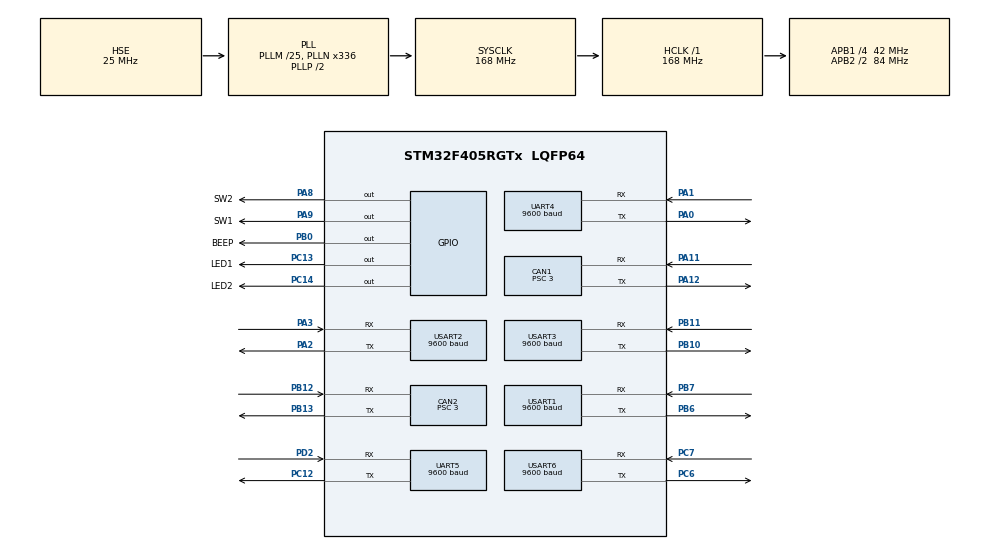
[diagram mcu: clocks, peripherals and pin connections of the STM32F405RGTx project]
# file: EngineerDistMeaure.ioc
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CAN1.BS1=CAN_BS1_9TQ
CAN1.BS2=CAN_BS2_4TQ
CAN1.CalculateTimeBit=1000
CAN1.CalculateTimeQuantum=71.42857142857143
CAN1.Prescaler=3
CAN2.BS1=CAN_BS1_9TQ
CAN2.BS2=CAN_BS2_4TQ
CAN2.CalculateTimeBit=1000
CAN2.CalculateTimeQuantum=71.42857142857143
CAN2.Prescaler=3
Dma.Request0=UART5_RX
Dma.Request1=UART5_TX
Dma.Request10=UART4_RX
Dma.Request11=UART4_TX
Dma.Request2=USART1_RX
Dma.Request3=USART1_TX
Dma.Request4=USART2_RX
Dma.Request5=USART2_TX
Dma.Request6=USART3_RX
Dma.Request7=USART3_TX
Dma.Request8=USART6_RX
Dma.Request9=USART6_TX
Dma.UART4_RX.10.Direction=DMA_PERIPH_TO_MEMORY
Dma.UART4_RX.10.FIFOMode=DMA_FIFOMODE_DISABLE
Dma.UART4_RX.10.Instance=DMA1_Stream2
Dma.UART4_RX.10.MemDataAlignment=DMA_MDATAALIGN_BYTE
Dma.UART4_RX.10.MemInc=DMA_MINC_ENABLE
Dma.UART4_RX.10.Mode=DMA_NORMAL
Dma.UART4_RX.10.PeriphDataAlignment=DMA_PDATAALIGN_BYTE
Dma.UART4_RX.10.PeriphInc=DMA_PINC_DISABLE
Dma.UART4_RX.10.Priority=DMA_PRIORITY_LOW
Dma.UART4_TX.11.Direction=DMA_MEMORY_TO_PERIPH
Dma.UART4_TX.11.FIFOMode=DMA_FIFOMODE_DISABLE
Dma.UART4_TX.11.Instance=DMA1_Stream4
Dma.UART4_TX.11.MemDataAlignment=DMA_MDATAALIGN_BYTE
Dma.UART4_TX.11.MemInc=DMA_MINC_ENABLE
Dma.UART4_TX.11.Mode=DMA_NORMAL
Dma.UART4_TX.11.PeriphDataAlignment=DMA_PDATAALIGN_BYTE
Dma.UART4_TX.11.PeriphInc=DMA_PINC_DISABLE
Dma.UART4_TX.11.Priority=DMA_PRIORITY_LOW
Dma.UART5_RX.0.Direction=DMA_PERIPH_TO_MEMORY
Dma.UART5_RX.0.FIFOMode=DMA_FIFOMODE_DISABLE
Dma.UART5_RX.0.Instance=DMA1_Stream0
Dma.UART5_RX.0.MemDataAlignment=DMA_MDATAALIGN_BYTE
Dma.UART5_RX.0.MemInc=DMA_MINC_ENABLE
Dma.UART5_RX.0.Mode=DMA_NORMAL
Dma.UART5_RX.0.PeriphDataAlignment=DMA_PDATAALIGN_BYTE
Dma.UART5_RX.0.PeriphInc=DMA_PINC_DISABLE
Dma.UART5_RX.0.Priority=DMA_PRIORITY_LOW
Dma.UART5_TX.1.Direction=DMA_MEMORY_TO_PERIPH
Dma.UART5_TX.1.FIFOMode=DMA_FIFOMODE_DISABLE
Dma.UART5_TX.1.Instance=DMA1_Stream7
Dma.UART5_TX.1.MemDataAlignment=DMA_MDATAALIGN_BYTE
Dma.UART5_TX.1.MemInc=DMA_MINC_ENABLE
Dma.UART5_TX.1.Mode=DMA_NORMAL
Dma.UART5_TX.1.PeriphDataAlignment=DMA_PDATAALIGN_BYTE
Dma.UART5_TX.1.PeriphInc=DMA_PINC_DISABLE
Dma.UART5_TX.1.Priority=DMA_PRIORITY_LOW
Dma.USART1_RX.2.Direction=DMA_PERIPH_TO_MEMORY
Dma.USART1_RX.2.FIFOMode=DMA_FIFOMODE_DISABLE
Dma.USART1_RX.2.Instance=DMA2_Stream2
Dma.USART1_RX.2.MemDataAlignment=DMA_MDATAALIGN_BYTE
Dma.USART1_RX.2.MemInc=DMA_MINC_ENABLE
Dma.USART1_RX.2.Mode=DMA_NORMAL
Dma.USART1_RX.2.PeriphDataAlignment=DMA_PDATAALIGN_BYTE
Dma.USART1_RX.2.PeriphInc=DMA_PINC_DISABLE
Dma.USART1_RX.2.Priority=DMA_PRIORITY_LOW
Dma.USART1_TX.3.Direction=DMA_MEMORY_TO_PERIPH
Dma.USART1_TX.3.FIFOMode=DMA_FIFOMODE_DISABLE
Dma.USART1_TX.3.Instance=DMA2_Stream7
Dma.USART1_TX.3.MemDataAlignment=DMA_MDATAALIGN_BYTE
Dma.USART1_TX.3.MemInc=DMA_MINC_ENABLE
Dma.USART1_TX.3.Mode=DMA_NORMAL
Dma.USART1_TX.3.PeriphDataAlignment=DMA_PDATAALIGN_BYTE
Dma.USART1_TX.3.PeriphInc=DMA_PINC_DISABLE
Dma.USART1_TX.3.Priority=DMA_PRIORITY_LOW
Dma.USART2_RX.4.Direction=DMA_PERIPH_TO_MEMORY
Dma.USART2_RX.4.FIFOMode=DMA_FIFOMODE_DISABLE
Dma.USART2_RX.4.Instance=DMA1_Stream5
Dma.USART2_RX.4.MemDataAlignment=DMA_MDATAALIGN_BYTE
Dma.USART2_RX.4.MemInc=DMA_MINC_ENABLE
Dma.USART2_RX.4.Mode=DMA_NORMAL
Dma.USART2_RX.4.PeriphDataAlignment=DMA_PDATAALIGN_BYTE
Dma.USART2_RX.4.PeriphInc=DMA_PINC_DISABLE
Dma.USART2_RX.4.Priority=DMA_PRIORITY_LOW
Dma.USART2_TX.5.Direction=DMA_MEMORY_TO_PERIPH
Dma.USART2_TX.5.FIFOMode=DMA_FIFOMODE_DISABLE
Dma.USART2_TX.5.Instance=DMA1_Stream6
Dma.USART2_TX.5.MemDataAlignment=DMA_MDATAALIGN_BYTE
Dma.USART2_TX.5.MemInc=DMA_MINC_ENABLE
Dma.USART2_TX.5.Mode=DMA_NORMAL
Dma.USART2_TX.5.PeriphDataAlignment=DMA_PDATAALIGN_BYTE
Dma.USART2_TX.5.PeriphInc=DMA_PINC_DISABLE
Dma.USART2_TX.5.Priority=DMA_PRIORITY_LOW
Dma.USART3_RX.6.Direction=DMA_PERIPH_TO_MEMORY
Dma.USART3_RX.6.FIFOMode=DMA_FIFOMODE_DISABLE
Dma.USART3_RX.6.Instance=DMA1_Stream1
Dma.USART3_RX.6.MemDataAlignment=DMA_MDATAALIGN_BYTE
Dma.USART3_RX.6.MemInc=DMA_MINC_ENABLE
Dma.USART3_RX.6.Mode=DMA_NORMAL
Dma.USART3_RX.6.PeriphDataAlignment=DMA_PDATAALIGN_BYTE
Dma.USART3_RX.6.PeriphInc=DMA_PINC_DISABLE
Dma.USART3_RX.6.Priority=DMA_PRIORITY_LOW
Dma.USART3_TX.7.Direction=DMA_MEMORY_TO_PERIPH
Dma.USART3_TX.7.FIFOMode=DMA_FIFOMODE_DISABLE
Dma.USART3_TX.7.Instance=DMA1_Stream3
Dma.USART3_TX.7.MemDataAlignment=DMA_MDATAALIGN_BYTE
Dma.USART3_TX.7.MemInc=DMA_MINC_ENABLE
Dma.USART3_TX.7.Mode=DMA_NORMAL
Dma.USART3_TX.7.PeriphDataAlignment=DMA_PDATAALIGN_BYTE
Dma.USART3_TX.7.PeriphInc=DMA_PINC_DISABLE
Dma.USART3_TX.7.Priority=DMA_PRIORITY_LOW
Dma.USART6_RX.8.Direction=DMA_PERIPH_TO_MEMORY
Dma.USART6_RX.8.FIFOMode=DMA_FIFOMODE_DISABLE
Dma.USART6_RX.8.Instance=DMA2_Stream1
Dma.USART6_RX.8.MemDataAlignment=DMA_MDATAALIGN_BYTE
Dma.USART6_RX.8.MemInc=DMA_MINC_ENABLE
Dma.USART6_RX.8.Mode=DMA_NORMAL
Dma.USART6_RX.8.PeriphDataAlignment=DMA_PDATAALIGN_BYTE
Dma.USART6_RX.8.PeriphInc=DMA_PINC_DISABLE
Dma.USART6_RX.8.Priority=DMA_PRIORITY_LOW
Dma.USART6_TX.9.Direction=DMA_MEMORY_TO_PERIPH
Dma.USART6_TX.9.FIFOMode=DMA_FIFOMODE_DISABLE
Dma.USART6_TX.9.Instance=DMA2_Stream6
Dma.USART6_TX.9.MemDataAlignment=DMA_MDATAALIGN_BYTE
Dma.USART6_TX.9.MemInc=DMA_MINC_ENABLE
Dma.USART6_TX.9.Mode=DMA_NORMAL
Dma.USART6_TX.9.PeriphDataAlignment=DMA_PDATAALIGN_BYTE
Dma.USART6_TX.9.PeriphInc=DMA_PINC_DISABLE
Dma.USART6_TX.9.Priority=DMA_PRIORITY_LOW
FREERTOS.INCLUDE_eTaskGetState=1
FREERTOS.INCLUDE_uxTaskGetStackHighWaterMark=1
FREERTOS.INCLUDE_vTaskDelayUntil=1
FREERTOS.INCLUDE_xTaskGetCurrentTaskHandle=1
FREERTOS.Tasks01=defaultTask,0,128,StartDefaultTask,Default
FREERTOS.configGENERATE_RUN_TIME_STATS=1
FREERTOS.configTOTAL_HEAP_SIZE=30360
IWDG.Prescaler=IWDG_PRESCALER_32
IWDG.Reload=1000
Mcu.Family=STM32F4
Mcu.Name=STM32F405RGTx
Mcu.Package=LQFP64
NVIC.CAN1_RX0_IRQn=true\:5\:0\:false\:false\:true\:true
NVIC.CAN2_RX0_IRQn=true\:5\:0\:false\:false\:true\:true
NVIC.DMA1_Stream0_IRQn=true\:5\:0\:false\:false\:true\:true
NVIC.DMA1_Stream1_IRQn=true\:5\:0\:false\:false\:true\:true
NVIC.DMA1_Stream2_IRQn=true\:5\:0\:false\:false\:true\:true
NVIC.DMA1_Stream3_IRQn=true\:5\:0\:false\:false\:true\:true
NVIC.DMA1_Stream4_IRQn=true\:5\:0\:false\:false\:true\:true
NVIC.DMA1_Stream5_IRQn=true\:5\:0\:false\:false\:true\:true
NVIC.DMA1_Stream6_IRQn=true\:5\:0\:false\:false\:true\:true
NVIC.DMA1_Stream7_IRQn=true\:5\:0\:false\:false\:true\:true
NVIC.DMA2_Stream1_IRQn=true\:5\:0\:false\:false\:true\:true
NVIC.DMA2_Stream2_IRQn=true\:5\:0\:false\:false\:true\:true
NVIC.DMA2_Stream6_IRQn=true\:5\:0\:false\:false\:true\:true
NVIC.DMA2_Stream7_IRQn=true\:5\:0\:false\:false\:true\:true
NVIC.PriorityGroup=NVIC_PRIORITYGROUP_4
NVIC.TIM6_DAC_IRQn=true\:5\:0\:false\:false\:true\:true
NVIC.UART4_IRQn=true\:5\:0\:false\:false\:true\:true
NVIC.UART5_IRQn=true\:5\:0\:false\:false\:true\:true
NVIC.USART1_IRQn=true\:5\:0\:false\:false\:true\:true
NVIC.USART2_IRQn=true\:5\:0\:false\:false\:true\:true
NVIC.USART3_IRQn=true\:5\:0\:false\:false\:true\:true
NVIC.USART6_IRQn=true\:5\:0\:false\:false\:true\:true
PA0-WKUP.Mode=Asynchronous
PA0-WKUP.Signal=UART4_TX
PA1.Mode=Asynchronous
PA1.Signal=UART4_RX
PA11.Mode=Master
PA11.Signal=CAN1_RX
PA12.Mode=Master
PA12.Signal=CAN1_TX
PA2.Mode=Asynchronous
PA2.Signal=USART2_TX
PA3.Mode=Asynchronous
PA3.Signal=USART2_RX
PA8.GPIO_Label=SW2
PA8.Signal=GPIO_Output
PA9.GPIO_Label=SW1
PA9.Signal=GPIO_Output
PB0.GPIO_Label=BEEP
PB0.Signal=GPIO_Output
PB10.Mode=Asynchronous
PB10.Signal=USART3_TX
PB11.Mode=Asynchronous
PB11.Signal=USART3_RX
PB12.Mode=Slave
PB12.Signal=CAN2_RX
PB13.Mode=Slave
PB13.Signal=CAN2_TX
PB6.Mode=Asynchronous
PB6.Signal=USART1_TX
PB7.Mode=Asynchronous
PB7.Signal=USART1_RX
PC12.Mode=Asynchronous
PC12.Signal=UART5_TX
PC13-ANTI_TAMP.GPIO_Label=LED1
PC13-ANTI_TAMP.Signal=GPIO_Output
PC14-OSC32_IN.GPIO_Label=LED2
PC14-OSC32_IN.Signal=GPIO_Output
PC6.Mode=Asynchronous
PC6.Signal=USART6_TX
PC7.Mode=Asynchronous
PC7.Signal=USART6_RX
PD2.Mode=Asynchronous
PD2.Signal=UART5_RX
PH0-OSC_IN.Mode=HSE-External-Oscillator
PH0-OSC_IN.Signal=RCC_OSC_IN
PH1-OSC_OUT.Mode=HSE-External-Oscillator
PH1-OSC_OUT.Signal=RCC_OSC_OUT
ProjectManager.HeapSize=0x200
ProjectManager.StackSize=0x400
ProjectManager.TargetToolchain=MDK-ARM V5
RCC.48MHZClocksFreq_Value=84000000
RCC.AHBFreq_Value=168000000
RCC.APB1CLKDivider=RCC_HCLK_DIV4
RCC.APB1Freq_Value=42000000
RCC.APB1TimFreq_Value=84000000
RCC.APB2CLKDivider=RCC_HCLK_DIV2
RCC.APB2Freq_Value=84000000
RCC.APB2TimFreq_Value=168000000
RCC.CortexFreq_Value=168000000
RCC.HCLKFreq_Value=168000000
RCC.HSE_VALUE=25000000
RCC.HSI_VALUE=16000000
RCC.LSE_VALUE=32768
RCC.PLLM=25
RCC.PLLN=336
RCC.PLLSourceVirtual=RCC_PLLSOURCE_HSE
RCC.SYSCLKFreq_VALUE=168000000
RCC.SYSCLKSource=RCC_SYSCLKSOURCE_PLLCLK
RCC.VCOOutputFreq_Value=336000000
TIM6.Period=100-1
TIM6.Prescaler=840-1
UART4.BaudRate=9600
UART4.VirtualMode=Asynchronous
UART5.BaudRate=9600
UART5.VirtualMode=Asynchronous
USART1.BaudRate=9600
USART1.VirtualMode=VM_ASYNC
USART2.BaudRate=9600
USART2.VirtualMode=VM_ASYNC
USART3.BaudRate=9600
USART3.VirtualMode=VM_ASYNC
USART6.BaudRate=9600
USART6.VirtualMode=VM_ASYNC
VP_FREERTOS_VS_ENABLE.Mode=Enabled
VP_IWDG_VS_IWDG.Mode=IWDG_Activate
VP_TIM6_VS_ClockSourceINT.Mode=Enable_Timer
board=EngineerDistMeaure

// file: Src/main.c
/**
  ******************************************************************************
  * File Name          : main.c
  * Description        : Main program body
  ******************************************************************************
  *
  * Copyright (c) 2018 STMicroelectronics International N.V.
  * All rights reserved.
  *
  * Redistribution and use in source and binary forms, with or without
  * modification, are permitted, provided that the following conditions are met:
  *
  * 1. Redistribution of source code must retain the above copyright notice,
  *    this list of conditions and the following disclaimer.
  * 2. Redistributions in binary form must reproduce the above copyright notice,
  *    this list of conditions and the following disclaimer in the documentation
  *    and/or other materials provided with the distribution.
  * 3. Neither the name of STMicroelectronics nor the names of other
  *    contributors to this software may be used to endorse or promote products
  *    derived from this software without specific written permission.
  * 4. This software, including modifications and/or derivative works of this
  *    software, must execute solely and exclusively on microcontroller or
  *    microprocessor devices manufactured by or for STMicroelectronics.
  * 5. Redistribution and use of this software other than as permitted under
  *    this license is void and will automatically terminate your rights under
  *    this license.
  *
  * THIS SOFTWARE IS PROVIDED BY STMICROELECTRONICS AND CONTRIBUTORS "AS IS"
  * AND ANY EXPRESS, IMPLIED OR STATUTORY WARRANTIES, INCLUDING, BUT NOT
  * LIMITED TO, THE IMPLIED WARRANTIES OF MERCHANTABILITY, FITNESS FOR A
  * PARTICULAR PURPOSE AND NON-INFRINGEMENT OF THIRD PARTY INTELLECTUAL PROPERTY
  * RIGHTS ARE DISCLAIMED TO THE FULLEST EXTENT PERMITTED BY LAW. IN NO EVENT
  * SHALL STMICROELECTRONICS OR CONTRIBUTORS BE LIABLE FOR ANY DIRECT, INDIRECT,
  * INCIDENTAL, SPECIAL, EXEMPLARY, OR CONSEQUENTIAL DAMAGES (INCLUDING, BUT NOT
  * LIMITED TO, PROCUREMENT OF SUBSTITUTE GOODS OR SERVICES; LOSS OF USE, DATA,
  * OR PROFITS; OR BUSINESS INTERRUPTION) HOWEVER CAUSED AND ON ANY THEORY OF
  * LIABILITY, WHETHER IN CONTRACT, STRICT LIABILITY, OR TORT (INCLUDING
  * NEGLIGENCE OR OTHERWISE) ARISING IN ANY WAY OUT OF THE USE OF THIS SOFTWARE,
  * EVEN IF ADVISED OF THE POSSIBILITY OF SUCH DAMAGE.
  *
  ******************************************************************************
  */
#include "main.h"
#include "stm32f4xx_hal.h"
#include "cmsis_os.h"
#include "can.h"
#include "dma.h"
#include "iwdg.h"
#include "tim.h"
#include "usart.h"
#include "gpio.h"

/* USER CODE BEGIN Includes */
#include "bsp_can.h"
#include "bsp_Uart.h"
#include "SystemState.h"
#include "GY-53.h"
/* USER CODE END Includes */

/* USER CODE BEGIN PV */
/* Private variables ---------------------------------------------------------*/
void vLED_Task(void *pvParameters);//LEDИООс
void vLED2_Task(void *pvParameters);//LEDИООс
void vDistMesure_Task(void *pvParameters);//ѕаАлІвБїІў·ўЛН
void vTest_Task(void *pvParameters);
/* USER CODE END PV */

void SystemClock_Config(void);
void Error_Handler(void);
void MX_FREERTOS_Init(void);

/* USER CODE BEGIN PFP */
/* Private function prototypes -----------------------------------------------*/

/* USER CODE END PFP */

int main(void)
{

  /* MCU Configuration----------------------------------------------------------*/

  /* Reset of all peripherals, Initializes the Flash interface and the Systick. */
  HAL_Init();

  /* Configure the system clock */
  SystemClock_Config();

  /* Initialize all configured peripherals */
  MX_GPIO_Init();
  MX_DMA_Init();
  MX_CAN1_Init();
  MX_CAN2_Init();
  MX_TIM6_Init();
  MX_UART4_Init();
  MX_USART1_UART_Init();
  MX_USART2_UART_Init();
  MX_USART3_UART_Init();
  MX_USART6_UART_Init();
  //MX_IWDG_Init();
  MX_UART5_Init();

  /* USER CODE BEGIN 2 */
	if(!Can_Inite())while(1);
	if(!UART_Inite())while(1);
	if(!SystemState_Inite())while(1);
	if(!GY_53Inite())while(1);
	xTaskCreate( vDistMesure_Task,  "DistMes_Task" , 200, NULL, 3 , NULL );
	xTaskCreate( vLED_Task,  "LED_Task" , 200, NULL, 1 , NULL );
	xTaskCreate( vLED2_Task,  "LED2_Task" , 200, NULL, 1 , NULL );
	xTaskCreate( vTest_Task,  "Test_Task" , 400, NULL, 1 , NULL );

  /* USER CODE END 2 */

  /* Call init function for freertos objects (in freertos.c) */
  MX_FREERTOS_Init();

  /* Start scheduler */
  osKernelStart();

  /* We should never get here as control is now taken by the scheduler */

  /* Infinite loop */
  while (1)
  {

  }

}

/** System Clock Configuration
*/
void SystemClock_Config(void)
{

  RCC_OscInitTypeDef RCC_OscInitStruct;
  RCC_ClkInitTypeDef RCC_ClkInitStruct;

    /**Configure the main internal regulator output voltage
    */
  __HAL_RCC_PWR_CLK_ENABLE();

  __HAL_PWR_VOLTAGESCALING_CONFIG(PWR_REGULATOR_VOLTAGE_SCALE1);

    /**Initializes the CPU, AHB and APB busses clocks
    */
  RCC_OscInitStruct.OscillatorType = RCC_OSCILLATORTYPE_LSI|RCC_OSCILLATORTYPE_HSE;
  RCC_OscInitStruct.HSEState = RCC_HSE_ON;
  RCC_OscInitStruct.LSIState = RCC_LSI_ON;
  RCC_OscInitStruct.PLL.PLLState = RCC_PLL_ON;
  RCC_OscInitStruct.PLL.PLLSource = RCC_PLLSOURCE_HSE;
  RCC_OscInitStruct.PLL.PLLM = 25;
  RCC_OscInitStruct.PLL.PLLN = 336;
  RCC_OscInitStruct.PLL.PLLP = RCC_PLLP_DIV2;
  RCC_OscInitStruct.PLL.PLLQ = 4;
  if (HAL_RCC_OscConfig(&RCC_OscInitStruct) != HAL_OK)
  {
    Error_Handler();
  }

    /**Initializes the CPU, AHB and APB busses clocks
    */
  RCC_ClkInitStruct.ClockType = RCC_CLOCKTYPE_HCLK|RCC_CLOCKTYPE_SYSCLK
                              |RCC_CLOCKTYPE_PCLK1|RCC_CLOCKTYPE_PCLK2;
  RCC_ClkInitStruct.SYSCLKSource = RCC_SYSCLKSOURCE_PLLCLK;
  RCC_ClkInitStruct.AHBCLKDivider = RCC_SYSCLK_DIV1;
  RCC_ClkInitStruct.APB1CLKDivider = RCC_HCLK_DIV4;
  RCC_ClkInitStruct.APB2CLKDivider = RCC_HCLK_DIV2;

  if (HAL_RCC_ClockConfig(&RCC_ClkInitStruct, FLASH_LATENCY_5) != HAL_OK)
  {
    Error_Handler();
  }

    /**Configure the Systick interrupt time
    */
  HAL_SYSTICK_Config(HAL_RCC_GetHCLKFreq()/1000);

    /**Configure the Systick
    */
  HAL_SYSTICK_CLKSourceConfig(SYSTICK_CLKSOURCE_HCLK);

  /* SysTick_IRQn interrupt configuration */
  HAL_NVIC_SetPriority(SysTick_IRQn, 15, 0);
}

void Error_Handler(void)
{
  while(1)
  {
  }
}

/************************ (C) COPYRIGHT STMicroelectronics *****END OF FILE****/
